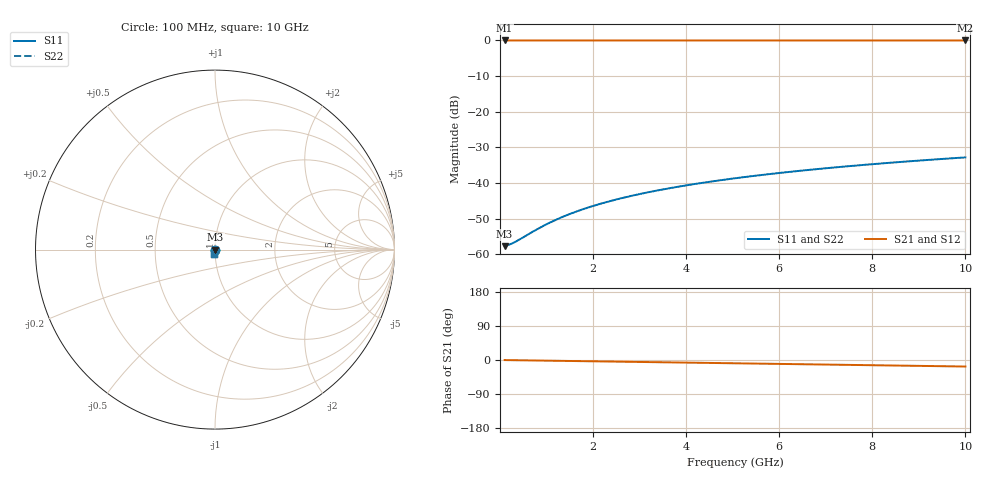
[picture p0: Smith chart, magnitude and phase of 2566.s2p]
# Hz S RI R 50.00
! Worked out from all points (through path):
!   100 points, 100 MHz to 10 GHz, reference 50 ohm
!   highest |S21| = -0.01 dB at 100 MHz (marker M1); lowest = 0.0 dB at 10 GHz (marker M2)
!   group delay of S21, straight-line fit = 4.79 ps
!   lowest |S11| = -57.8 dB at 100 MHz (marker M3), VSWR 1.00, Z = 50.1 - j0.0232 ohm
!   |S11| at or under -10 dB: start of sweep to end of sweep
!   |S22| runs from -57.8 to -32.8 dB; largest |S21 - S12| = 0
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1e8  0.00127 -0.000231  0.9987 -0.00299  0.9987 -0.00299  0.00127 -0.000231
2e8  0.00128 -0.000462  0.9987 -0.00598  0.9987 -0.00598  0.00128 -0.000462
3e8  0.00128 -0.000694  0.9987 -0.00897  0.9987 -0.00897  0.00128 -0.000694
4e8  0.00128 -0.000925  0.9986 -0.012  0.9986 -0.012  0.00128 -0.000925
8e8  0.00125 -0.00185  0.9984 -0.0239  0.9984 -0.0239  0.00125 -0.00185
1.1e9  0.00122 -0.00254  0.9981 -0.0329  0.9981 -0.0329  0.00122 -0.00254
1.4e9  0.00117 -0.00324  0.9978 -0.0418  0.9978 -0.0418  0.00117 -0.00324
1.6e9  0.00113 -0.0037  0.9975 -0.0478  0.9975 -0.0478  0.00113 -0.0037
1.8e9  0.00108 -0.00416  0.9972 -0.0538  0.9972 -0.0538  0.00108 -0.00416
2.1e9  0.001 -0.00486  0.9966 -0.0628  0.9966 -0.0628  0.001 -0.00486
2.5e9  0.000879 -0.00578  0.9958 -0.0747  0.9958 -0.0747  0.000879 -0.00578
2.9e9  0.000731 -0.0067  0.9948 -0.0866  0.9948 -0.0866  0.000731 -0.0067
3.4e9  0.000514 -0.00785  0.9934 -0.1015  0.9934 -0.1015  0.000514 -0.00785
3.8e9  0.000316 -0.00876  0.9921 -0.1135  0.9921 -0.1135  0.000316 -0.00876
4.2e9  9.51e-05 -0.00967  0.9906 -0.1254  0.9906 -0.1254  9.51e-05 -0.00967
4.6e9  -0.000147 -0.0106  0.989 -0.1373  0.989 -0.1373  -0.000147 -0.0106
5.1e9  -0.000482 -0.0117  0.9868 -0.1521  0.9868 -0.1521  -0.000482 -0.0117
5.9e9  -0.00109 -0.0135  0.9828 -0.1758  0.9828 -0.1758  -0.00109 -0.0135
6.7e9  -0.00178 -0.0153  0.9782 -0.1994  0.9782 -0.1994  -0.00178 -0.0153
7.5e9  -0.00255 -0.017  0.9731 -0.2229  0.9731 -0.2229  -0.00255 -0.017
8.4e9  -0.00353 -0.0189  0.9666 -0.2493  0.9666 -0.2493  -0.00353 -0.0189
1e10  -0.0055 -0.0221  0.9533 -0.2957  0.9533 -0.2957  -0.0055 -0.0221
